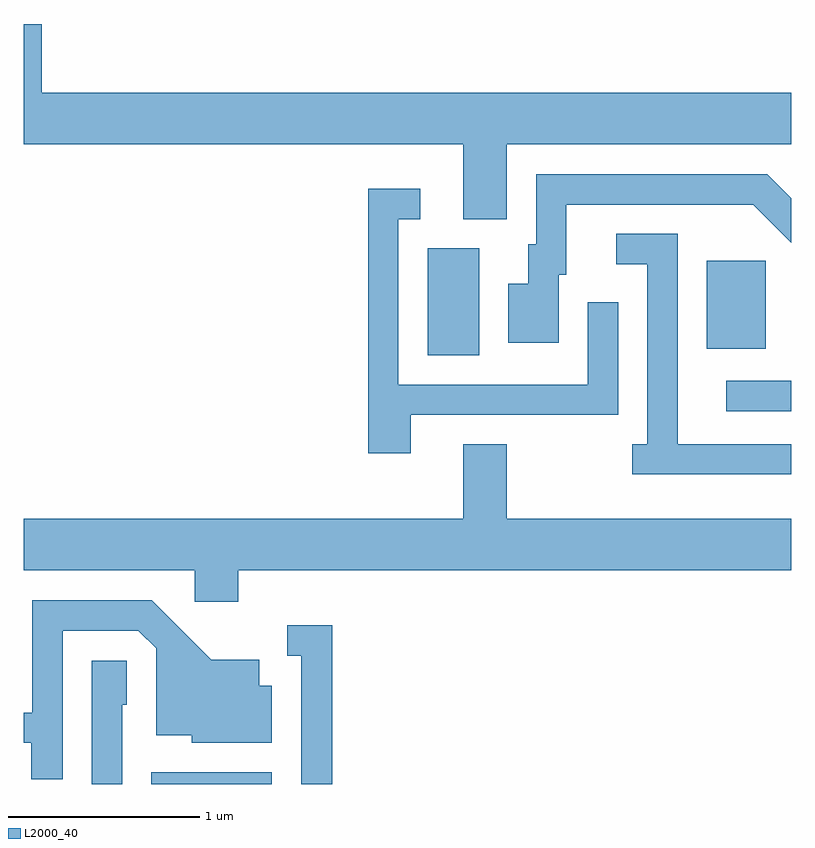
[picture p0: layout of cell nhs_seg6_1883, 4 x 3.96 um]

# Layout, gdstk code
import gdstk
lib = gdstk.Library(unit=1e-6, precision=1e-09)
def R(c, l, rs):  # rectangles x0, y0, x1, y1
    for r in rs: c.add(gdstk.rectangle(r[:2], r[2:], *l))
def P(c, l, *ps):  # polygons
    for p in ps: c.add(gdstk.Polygon(p, *l))
L2000_40 = (2000, 40)

nhs_seg6_1883 = lib.new_cell('nhs_seg6_1883')
R(nhs_seg6_1883, L2000_40, [(242.276,1642.162,242.904,1642.224), (245.273,1644.106,245.611,1644.264), (243.716,1644.396,243.984,1644.954), (245.171,1644.431,245.479,1644.889)])
P(nhs_seg6_1883, L2000_40, [(244.129,1645.496),(245.611,1645.496),(245.611,1645.764),(241.704,1645.764),(241.704,1646.123),(241.611,1646.123),(241.611,1645.496),(243.901,1645.496),(243.901,1645.106),(244.129,1645.106)],
  [(244.399,1644.816),(244.439,1644.816),(244.439,1645.181),(245.414,1645.181),(245.611,1644.984),(245.611,1645.215),(245.487,1645.339),(244.281,1645.339),(244.281,1644.974),(244.241,1644.974),(244.241,1644.769),(244.136,1644.769),(244.136,1644.461),(244.399,1644.461)],
  [(243.629,1644.086),(244.709,1644.086),(244.709,1644.673),(244.551,1644.673),(244.551,1644.244),(243.564,1644.244),(243.564,1645.106),(243.678,1645.106),(243.678,1645.264),(243.406,1645.264),(243.406,1643.886),(243.629,1643.886)],
  [(245.611,1643.934),(245.019,1643.934),(245.019,1645.029),(244.698,1645.029),(244.698,1644.871),(244.861,1644.871),(244.861,1643.934),(244.783,1643.934),(244.783,1643.776),(245.611,1643.776)],
  [(242.729,1643.276),(245.611,1643.276),(245.611,1643.544),(244.129,1643.544),(244.129,1643.934),(243.901,1643.934),(243.901,1643.544),(241.611,1643.544),(241.611,1643.276),(242.501,1643.276),(242.501,1643.111),(242.729,1643.111)],
  [(241.814,1642.961),(242.209,1642.961),(242.301,1642.869),(242.301,1642.416),(242.486,1642.416),(242.486,1642.376),(242.904,1642.376),(242.904,1642.674),(242.839,1642.674),(242.839,1642.809),(242.587,1642.809),(242.277,1643.119),(241.656,1643.119),(241.656,1642.534),(241.611,1642.534),(241.611,1642.376),(241.651,1642.376),(241.651,1642.188),(241.814,1642.188)],
  [(243.219,1642.989),(242.983,1642.989),(242.983,1642.831),(243.056,1642.831),(243.056,1642.162),(243.219,1642.162)],
  [(242.124,1642.576),(242.149,1642.576),(242.149,1642.804),(241.966,1642.804),(241.966,1642.162),(242.124,1642.162)])

lib.write_gds('nhs_seg6_1883.gds')
